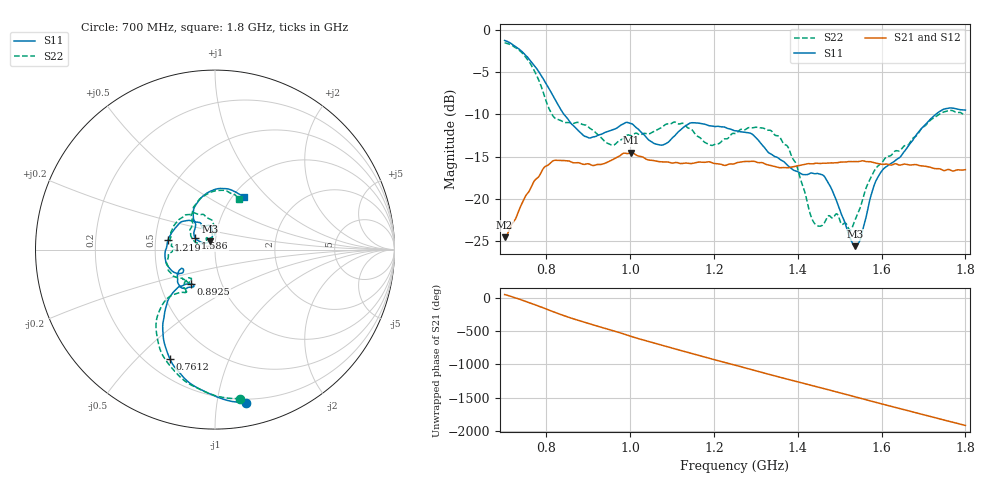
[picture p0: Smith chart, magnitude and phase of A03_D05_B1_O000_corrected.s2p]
! Created with skrf 1.9.0 (http://scikit-rf.org).
# Hz S RI R 50.0
!freq ReS11 ImS11 ReS21 ImS21 ReS12 ImS12 ReS22 ImS22
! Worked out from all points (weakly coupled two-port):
!   1601 points, 700 MHz to 1.8 GHz, reference 50 ohm
!   highest |S21| = -14.55 dB at 1.002 GHz (marker M1); lowest = -24.6 dB at 700 MHz (marker M2)
!   lowest |S11| = -25.6 dB at 1.537 GHz (marker M3), VSWR 1.11, Z = 47.4 + j4.35 ohm
!   |S11| at or under -10 dB: 841.8 MHz to 1.729 GHz (887.1 MHz wide, 69 % of centre)
!   |S22| runs from -23.8 to -1.5 dB; largest |S21 - S12| = 0.0035
!   S11 on the Smith chart (normalised r, x): 700 MHz: 0.17, -1.21; 761.2 MHz: 0.29, -0.63; 892.5 MHz: 0.72, -0.29; 1.219 GHz: 0.58, +0.07; 1.586 GHz: 0.80, +0.10; 1.8 GHz: 1.12, +0.74
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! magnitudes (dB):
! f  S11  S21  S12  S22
! 700 MHz  -1.2  -24.6  -24.4  -1.5
! 761.2 MHz  -3.6  -18.9  -18.8  -3.9
! 817.6 MHz  -7.9  -15.5  -15.6  -10.3
! 883.6 MHz  -12.3  -15.9  -15.8  -11.1
! 892.5 MHz  -12.6  -15.9  -16.0  -11.3
! 955.1 MHz  -11.9  -15.4  -15.4  -13.6
! 1.002 GHz  -11.1  -14.5  -14.7  -12.5
! 1.067 GHz  -13.6  -15.6  -15.5  -11.7
! 1.144 GHz  -11.0  -15.8  -15.8  -11.7
! 1.219 GHz  -11.5  -16.0  -16.0  -13.1
! 1.25 GHz  -11.9  -15.8  -15.8  -12.3
! 1.357 GHz  -15.3  -16.3  -16.3  -12.7
! 1.396 GHz  -16.7  -16.1  -16.1  -15.9
! 1.434 GHz  -17.0  -15.9  -15.8  -22.4
! 1.469 GHz  -17.8  -15.8  -15.8  -22.3
! 1.525 GHz  -24.7  -15.6  -15.6  -23.8
! 1.537 GHz  -25.6  -15.6  -15.6  -22.5
! 1.55 GHz  -24.7  -15.5  -15.6  -20.9
! 1.586 GHz  -17.9  -15.8  -15.8  -16.4
! 1.617 GHz  -16.0  -15.9  -15.9  -15.0
! 1.735 GHz  -9.8  -16.4  -16.5  -10.1
! 1.8 GHz  -9.5  -16.6  -16.6  -10.1
